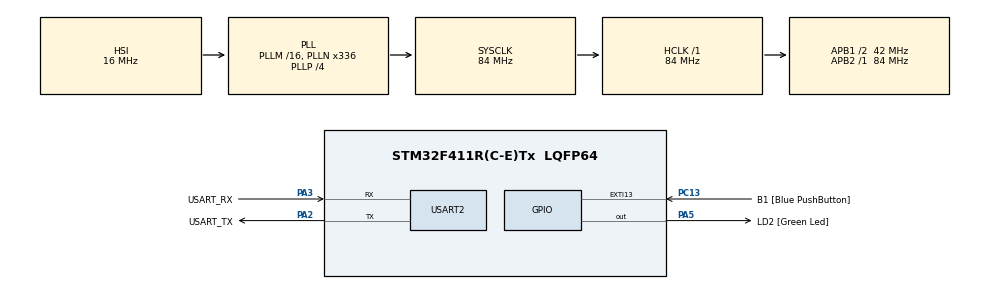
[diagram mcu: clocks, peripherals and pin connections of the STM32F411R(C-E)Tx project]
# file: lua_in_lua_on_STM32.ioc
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Mcu.Family=STM32F4
Mcu.Name=STM32F411R(C-E)Tx
Mcu.Package=LQFP64
NVIC.PriorityGroup=NVIC_PRIORITYGROUP_0
PA13.GPIO_Label=TMS
PA13.Mode=Serial_Wire
PA13.Signal=SYS_JTMS-SWDIO
PA14.GPIO_Label=TCK
PA14.Mode=Serial_Wire
PA14.Signal=SYS_JTCK-SWCLK
PA2.GPIO_Label=USART_TX
PA2.Mode=Asynchronous
PA2.Signal=USART2_TX
PA3.GPIO_Label=USART_RX
PA3.Mode=Asynchronous
PA3.Signal=USART2_RX
PA5.GPIO_Label=LD2 [Green Led]
PA5.Signal=GPIO_Output
PB3.GPIO_Label=SWO
PB3.Signal=SYS_JTDO-SWO
PC13-ANTI_TAMP.GPIO_Label=B1 [Blue PushButton]
PC13-ANTI_TAMP.GPIO_ModeDefaultEXTI=GPIO_MODE_IT_FALLING
PC13-ANTI_TAMP.Signal=GPXTI13
PC14-OSC32_IN.Mode=LSE-External-Oscillator
PC14-OSC32_IN.Signal=RCC_OSC32_IN
PC15-OSC32_OUT.Mode=LSE-External-Oscillator
PC15-OSC32_OUT.Signal=RCC_OSC32_OUT
PH0\ -\ OSC_IN.Mode=HSE-External-Clock-Source
PH0\ -\ OSC_IN.Signal=RCC_OSC_IN
PH1\ -\ OSC_OUT.Mode=HSE-External-Clock-Source
PH1\ -\ OSC_OUT.Signal=RCC_OSC_OUT
ProjectManager.HeapSize=0x10000
ProjectManager.StackSize=0x400
ProjectManager.TargetToolchain=Makefile
RCC.48MHZClocksFreq_Value=84000000
RCC.AHBFreq_Value=84000000
RCC.APB1CLKDivider=RCC_HCLK_DIV2
RCC.APB1Freq_Value=42000000
RCC.APB1TimFreq_Value=84000000
RCC.APB2Freq_Value=84000000
RCC.APB2TimFreq_Value=84000000
RCC.CortexFreq_Value=84000000
RCC.FLatency-AdvancedSettings=FLASH_LATENCY_2
RCC.HCLKFreq_Value=84000000
RCC.HSE_VALUE=8000000
RCC.HSI_VALUE=16000000
RCC.PLLN=336
RCC.PLLP=RCC_PLLP_DIV4
RCC.SYSCLKFreq_VALUE=84000000
RCC.SYSCLKSource=RCC_SYSCLKSOURCE_PLLCLK
RCC.VCOOutputFreq_Value=336000000
USART2.VirtualMode=VM_ASYNC
board=NUCLEO-F411RE

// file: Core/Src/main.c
/* USER CODE BEGIN Header */
/**
  ******************************************************************************
  * @file           : main.c
  * @brief          : Main program body
  ******************************************************************************
  * @attention
  *
  * Copyright (c) 2026 STMicroelectronics.
  * All rights reserved.
  *
  * This software is licensed under terms that can be found in the LICENSE file
  * in the root directory of this software component.
  * If no LICENSE file comes with this software, it is provided AS-IS.
  *
  ******************************************************************************
  */
/* USER CODE END Header */
#include "main.h"

/* USER CODE BEGIN Includes */
#include <stdio.h>
#include <string.h>
#include "lua.h"
#include "lualib.h"
#include "lauxlib.h"
#include "embedded_cli.h"
#include "lua_hal.h"
/* USER CODE END Includes */

UART_HandleTypeDef huart2;

/* USER CODE BEGIN PV */
static lua_State *L;
static struct embedded_cli cli;
/* USER CODE END PV */

void SystemClock_Config(void);
static void MX_GPIO_Init(void);
static void MX_USART2_UART_Init(void);

/* USER CODE BEGIN 0 */
int __io_getchar(void)
{
  uint8_t ch = '\0';
  (void) HAL_UART_Receive(&huart2, &ch, 1, 0);
  return (int)ch;
}

int __io_putchar(int ch)
{
  (void) HAL_UART_Transmit(&huart2, (uint8_t *) &ch, 1, HAL_MAX_DELAY);
  return ch;
}

static void put_char(void *data, char ch, bool is_last)
{
    (void)data; (void)is_last;
    __io_putchar(ch);
}

int l_cli_prompt(lua_State* L)
{
  embedded_cli_prompt(&cli);
  return 0;
}

int l_get_line(lua_State* L)
{
  int c = __io_getchar();
  if (c && embedded_cli_insert_char(&cli, c))
  {
      const char *line = embedded_cli_get_line(&cli);
      if (line && strlen(line) > 0)
      {
          lua_pushstring(L, line);
          return 1;
      }
  }
  return 0;
}
/* USER CODE END 0 */

int main(void)
{

  /* MCU Configuration--------------------------------------------------------*/

  /* Reset of all peripherals, Initializes the Flash interface and the Systick. */
  HAL_Init();

  /* Configure the system clock */
  SystemClock_Config();

  /* Initialize all configured peripherals */
  MX_GPIO_Init();
  MX_USART2_UART_Init();

  /* Infinite loop */
  /* USER CODE BEGIN WHILE */

  L = luaL_newstate();
  luaL_requiref(L, "_G",     luaopen_base,   1); lua_pop(L, 1);
  luaL_requiref(L, "math",   luaopen_math,   1); lua_pop(L, 1);
  luaL_requiref(L, "string", luaopen_string, 1); lua_pop(L, 1);
  luaL_requiref(L, "table",  luaopen_table,  1); lua_pop(L, 1);

  lua_register(L, "cli_prompt", l_cli_prompt);
  lua_register(L, "get_line", l_get_line);
  luahal_register(L);  // Registers rd, wr, pin, dr, dw, etc

  embedded_cli_init(&cli, "\r> ", put_char, NULL);
  printf("Finished setup\n\r");

  const char* repl =
      "function repl()\n"
      "  cli_prompt()\n"
      "  while true do\n"
      "    local line = get_line()\n"
      "    if line then\n"
      "      local fn, err = load(line)\n"
      "      if fn then pcall(fn) else print(err) end"
      "      cli_prompt()\n"
      "    end\n"
      "  end\n"
      "end\n"
      "repl()\n";
  luaL_dostring(L, repl); // Never returns

  while (1)
  {
    /* USER CODE END WHILE */

  }
}

void SystemClock_Config(void)
{
  RCC_OscInitTypeDef RCC_OscInitStruct = {0};
  RCC_ClkInitTypeDef RCC_ClkInitStruct = {0};

  /** Configure the main internal regulator output voltage
  */
  __HAL_RCC_PWR_CLK_ENABLE();
  __HAL_PWR_VOLTAGESCALING_CONFIG(PWR_REGULATOR_VOLTAGE_SCALE1);

  /** Initializes the RCC Oscillators according to the specified parameters
  * in the RCC_OscInitTypeDef structure.
  */
  RCC_OscInitStruct.OscillatorType = RCC_OSCILLATORTYPE_HSI;
  RCC_OscInitStruct.HSIState = RCC_HSI_ON;
  RCC_OscInitStruct.HSICalibrationValue = RCC_HSICALIBRATION_DEFAULT;
  RCC_OscInitStruct.PLL.PLLState = RCC_PLL_ON;
  RCC_OscInitStruct.PLL.PLLSource = RCC_PLLSOURCE_HSI;
  RCC_OscInitStruct.PLL.PLLM = 16;
  RCC_OscInitStruct.PLL.PLLN = 336;
  RCC_OscInitStruct.PLL.PLLP = RCC_PLLP_DIV4;
  RCC_OscInitStruct.PLL.PLLQ = 4;
  if (HAL_RCC_OscConfig(&RCC_OscInitStruct) != HAL_OK)
  {
    Error_Handler();
  }

  /** Initializes the CPU, AHB and APB buses clocks
  */
  RCC_ClkInitStruct.ClockType = RCC_CLOCKTYPE_HCLK|RCC_CLOCKTYPE_SYSCLK
                              |RCC_CLOCKTYPE_PCLK1|RCC_CLOCKTYPE_PCLK2;
  RCC_ClkInitStruct.SYSCLKSource = RCC_SYSCLKSOURCE_PLLCLK;
  RCC_ClkInitStruct.AHBCLKDivider = RCC_SYSCLK_DIV1;
  RCC_ClkInitStruct.APB1CLKDivider = RCC_HCLK_DIV2;
  RCC_ClkInitStruct.APB2CLKDivider = RCC_HCLK_DIV1;

  if (HAL_RCC_ClockConfig(&RCC_ClkInitStruct, FLASH_LATENCY_2) != HAL_OK)
  {
    Error_Handler();
  }
}

static void MX_USART2_UART_Init(void)
{

  huart2.Instance = USART2;
  huart2.Init.BaudRate = 115200;
  huart2.Init.WordLength = UART_WORDLENGTH_8B;
  huart2.Init.StopBits = UART_STOPBITS_1;
  huart2.Init.Parity = UART_PARITY_NONE;
  huart2.Init.Mode = UART_MODE_TX_RX;
  huart2.Init.HwFlowCtl = UART_HWCONTROL_NONE;
  huart2.Init.OverSampling = UART_OVERSAMPLING_16;
  if (HAL_UART_Init(&huart2) != HAL_OK)
  {
    Error_Handler();
  }

}

static void MX_GPIO_Init(void)
{
  GPIO_InitTypeDef GPIO_InitStruct = {0};

  /* GPIO Ports Clock Enable */
  __HAL_RCC_GPIOC_CLK_ENABLE();
  __HAL_RCC_GPIOH_CLK_ENABLE();
  __HAL_RCC_GPIOA_CLK_ENABLE();
  __HAL_RCC_GPIOB_CLK_ENABLE();

  /*Configure GPIO pin Output Level */
  HAL_GPIO_WritePin(LD2_GPIO_Port, LD2_Pin, GPIO_PIN_RESET);

  /*Configure GPIO pin : B1_Pin */
  GPIO_InitStruct.Pin = B1_Pin;
  GPIO_InitStruct.Mode = GPIO_MODE_IT_FALLING;
  GPIO_InitStruct.Pull = GPIO_NOPULL;
  HAL_GPIO_Init(B1_GPIO_Port, &GPIO_InitStruct);

  /*Configure GPIO pin : LD2_Pin */
  GPIO_InitStruct.Pin = LD2_Pin;
  GPIO_InitStruct.Mode = GPIO_MODE_OUTPUT_PP;
  GPIO_InitStruct.Pull = GPIO_NOPULL;
  GPIO_InitStruct.Speed = GPIO_SPEED_FREQ_LOW;
  HAL_GPIO_Init(LD2_GPIO_Port, &GPIO_InitStruct);

}

void Error_Handler(void)
{
  __disable_irq();
  while (1)
  {
  }
}
